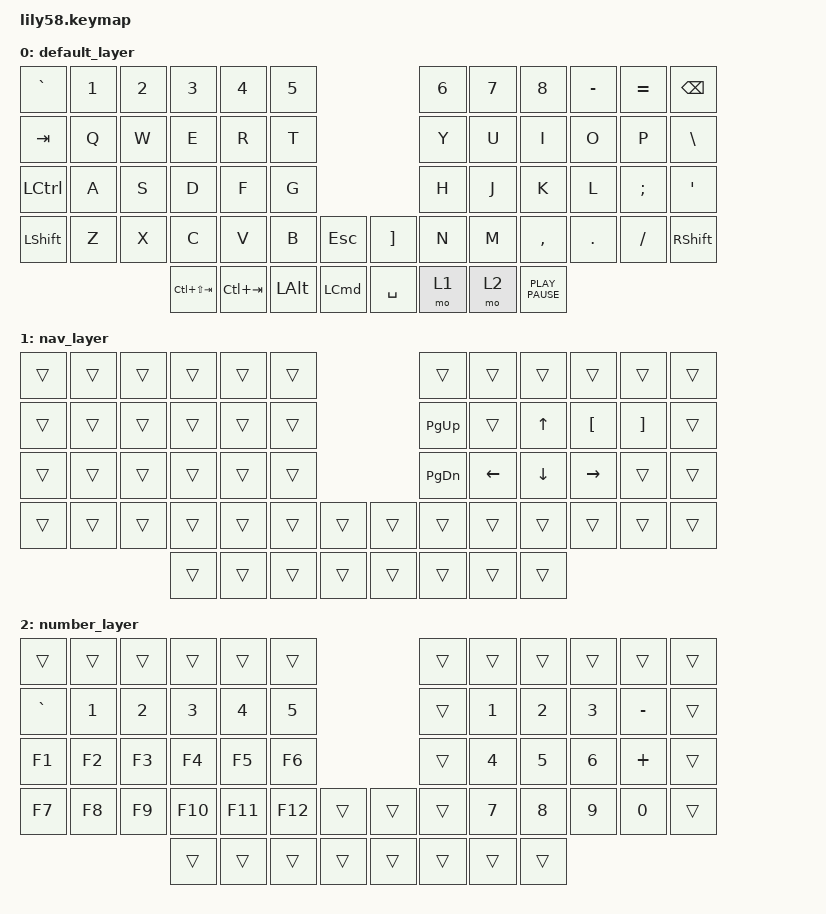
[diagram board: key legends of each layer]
/*
 * Copyright (c) 2020 The ZMK Contributors
 *
 * SPDX-License-Identifier: MIT
 */

#include <behaviors.dtsi>
#include <dt-bindings/zmk/keys.h>

/ {
    keymap {
        compatible = "zmk,keymap";

        default_layer {
            // ------------------------------------------------------------------------------------------------------------
            // |  ESC  |  1  |  2  |  3   |  4   |  5   |                   |  6   |  7    |  8    |  9   |   0   |   `   |
            // |  TAB  |  Q  |  W  |  E   |  R   |  T   |                   |  Y   |  U    |  I    |  O   |   P   |   -   |
            // |  CTRL |  A  |  S  |  D   |  F   |  G   |                   |  H   |  J    |  K    |  L   |   ;   |   '   |
            // | SHIFT |  Z  |  X  |  C   |  V   |  B   |   "["  |  |  "]"  |  N   |  M    |  ,    |  .   |   /   | SHIFT |
            //                     | ALT  | GUI  | LOWER|  SPACE |  | ENTER | RAISE| BSPC  | GUI   |

            bindings = <
&kp GRAVE  &kp N1  &kp N2  &kp N3           &kp N4       &kp N5                               &kp N6  &kp N7  &kp N8            &kp MINUS  &kp EQUAL      &kp BACKSPACE
&kp TAB    &kp Q   &kp W   &kp E            &kp R        &kp T                                &kp Y   &kp U   &kp I             &kp O      &kp P          &kp BACKSLASH
&kp LCTRL  &kp A   &kp S   &kp D            &kp F        &kp G                                &kp H   &kp J   &kp K             &kp L      &kp SEMICOLON  &kp SQT
&kp LSHFT  &kp Z   &kp X   &kp C            &kp V        &kp B         &kp ESC     &kp RBKT   &kp N   &kp M   &kp COMMA         &kp DOT    &kp FSLH       &kp RSHFT
                           &kp LC(LS(TAB))  &kp LC(TAB)  &kp LEFT_ALT  &kp LCMD    &kp SPACE  &mo 1   &mo 2   &kp K_PLAY_PAUSE
            >;
        };

        nav_layer {
            // ------------------------------------------------------------------------------------------------------------
            // | BTCLR | BT1 | BT2 |  BT3 |  BT4 |  BT5 |                   |      |       |       |      |       |       |
            // |  F1   |  F2 |  F3 |  F4  |  F5  |  F6  |                   |  F7  |  F8   |  F9   |  F10 |  F11  |  F12  |
            // |   `   |  !  |  @  |  #   |  $   |  %   |                   |  ^   |  &    |  *    |  (   |   )   |   ~   |
            // |       |     |     |      |      |      |        |  |       |      |  _    |  +    |  {   |   }   |  "|"  |
            //                     |      |      |      |        |  |       |      |       |       |

            bindings = <
&trans  &trans  &trans  &trans  &trans  &trans                    &trans         &trans          &trans          &trans            &trans             &trans
&trans  &trans  &trans  &trans  &trans  &trans                    &kp PAGE_UP    &trans          &kp UP_ARROW    &kp LEFT_BRACKET  &kp RIGHT_BRACKET  &trans
&trans  &trans  &trans  &trans  &trans  &trans                    &kp PAGE_DOWN  &kp LEFT_ARROW  &kp DOWN_ARROW  &kp RIGHT_ARROW   &trans             &trans
&trans  &trans  &trans  &trans  &trans  &trans  &trans    &trans  &trans         &trans          &trans          &trans            &trans             &trans
                        &trans  &trans  &trans  &trans    &trans  &trans         &trans          &trans
            >;
        };

        number_layer {
            // ------------------------------------------------------------------------------------------------------------
            // |       |     |     |      |      |      |                   |      |       |       |      |       |       |
            // |   `   |  1  |  2  |  3   |  4   |  5   |                   |  6   |   7   |   8   |  9   |   0   |       |
            // |   F1  |  F2 |  F3 |  F4  |  F5  |  F6  |                   |      |   <-  |   v   |  ^   |  ->   |       |
            // |   F7  |  F8 |  F9 |  F10 |  F11 |  F12 |        |  |       |  +   |   -   |   =   |  [   |   ]   |   \   |
            //                     |      |      |      |        |  |       |      |       |       |

            bindings = <
&trans     &trans  &trans  &trans   &trans   &trans                     &trans  &trans        &trans        &trans        &trans        &trans
&kp GRAVE  &kp N1  &kp N2  &kp N3   &kp N4   &kp N5                     &trans  &kp NUMBER_1  &kp NUMBER_2  &kp NUMBER_3  &kp MINUS     &trans
&kp F1     &kp F2  &kp F3  &kp F4   &kp F5   &kp F6                     &trans  &kp NUMBER_4  &kp NUMBER_5  &kp NUMBER_6  &kp PLUS      &trans
&kp F7     &kp F8  &kp F9  &kp F10  &kp F11  &kp F12  &trans    &trans  &trans  &kp NUMBER_7  &kp NUMBER_8  &kp NUMBER_9  &kp NUMBER_0  &trans
                           &trans   &trans   &trans   &trans    &trans  &trans  &trans        &trans
            >;
        };
    };
};
